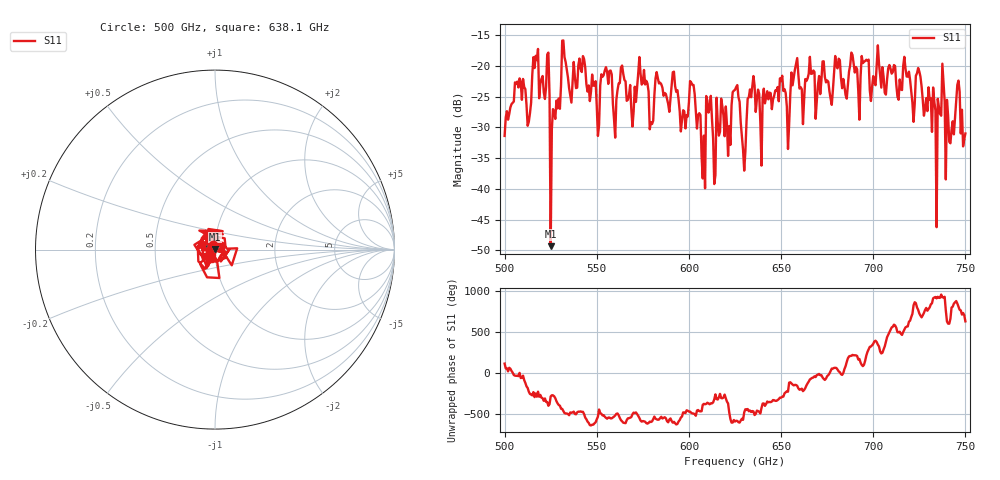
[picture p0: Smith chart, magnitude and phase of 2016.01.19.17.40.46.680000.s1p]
!Created with skrf (http://scikit-rf.org).
# GHz S RI R 50.0
!freq ReS11 ImS11
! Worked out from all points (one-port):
!   401 points, 500 GHz to 750 GHz, reference 50 ohm
!   lowest |S11| = -49.3 dB at 525 GHz (marker M1), VSWR 1.01, Z = 50.1 + j0.325 ohm
!   |S11| at or under -10 dB: start of sweep to end of sweep
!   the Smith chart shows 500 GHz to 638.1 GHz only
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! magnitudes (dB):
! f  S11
! 500 GHz  -31.4
! 506.9 GHz  -22.6
! 513.1 GHz  -29.1
! 516.9 GHz  -18.4
! 523.1 GHz  -18.2
! 525 GHz  -49.3
! 531.2 GHz  -15.9
! 550 GHz  -26.6
! 562.5 GHz  -22.8
! 570 GHz  -27.5
! 574.4 GHz  -23.1
! 580 GHz  -29.5
! 583.1 GHz  -22.0
! 593.8 GHz  -24.0
! 601.9 GHz  -23.1
! 607.5 GHz  -38.3
! 610.6 GHz  -27.6
! 615 GHz  -25.2
! 625 GHz  -23.9
! 629.4 GHz  -33.7
! 634.4 GHz  -23.4
! 653.8 GHz  -33.5
! 656.2 GHz  -23.2
! 687.5 GHz  -19.9
! 718.8 GHz  -21.8
! 733.1 GHz  -25.8
! 745.6 GHz  -23.1
! 750 GHz  -31.0
